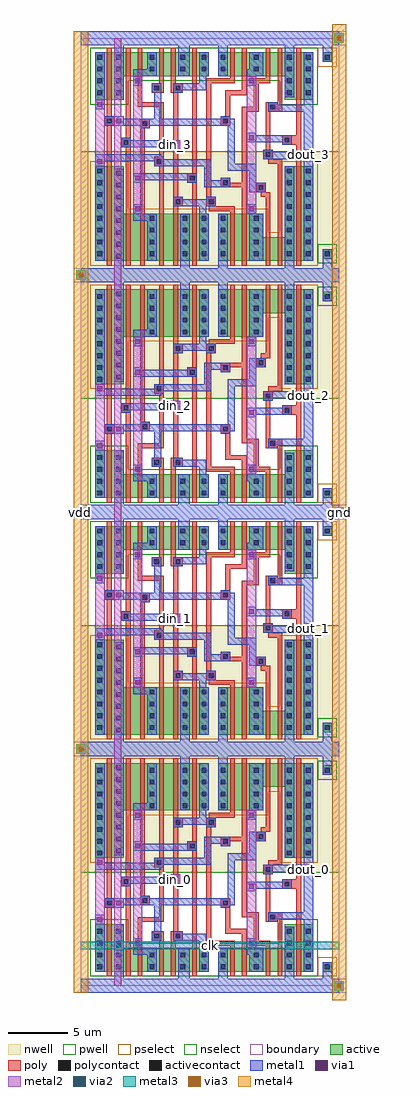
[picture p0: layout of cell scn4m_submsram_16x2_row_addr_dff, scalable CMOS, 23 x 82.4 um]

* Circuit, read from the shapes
.subckt scn4m_submsram_16x2_row_addr_dff clk din_0 din_1 din_2 din_3 dout_0 dout_1 dout_2 dout_3 gnd vdd
M1 gnd clk n1 gnd nfet w=4u l=0.4u
M2 gnd clk n2 gnd nfet w=4u l=0.4u
M3 gnd clk n3 gnd nfet w=4u l=0.4u
M4 gnd clk n4 gnd nfet w=4u l=0.4u
M5 n5 din_0 gnd gnd nfet w=2u l=0.4u
M6 n6 din_1 gnd gnd nfet w=2u l=0.4u
M7 n7 din_2 gnd gnd nfet w=2u l=0.4u
M8 n8 din_3 gnd gnd nfet w=2u l=0.4u
M9 n9 n1 n5 gnd nfet w=2u l=0.4u
M10 n10 n2 n6 gnd nfet w=2u l=0.4u
M11 n11 n3 n7 gnd nfet w=2u l=0.4u
M12 n12 n4 n8 gnd nfet w=2u l=0.4u
M13 n13 clk n9 gnd nfet w=2u l=0.4u
M14 n14 clk n10 gnd nfet w=2u l=0.4u
M15 n15 clk n11 gnd nfet w=2u l=0.4u
M16 n16 clk n12 gnd nfet w=2u l=0.4u
M17 gnd n17 n13 gnd nfet w=2u l=0.4u
M18 gnd n18 n14 gnd nfet w=2u l=0.4u
M19 gnd n19 n15 gnd nfet w=2u l=0.4u
M20 gnd n20 n16 gnd nfet w=2u l=0.4u
M21 n17 n9 gnd gnd nfet w=2u l=0.4u
M22 n18 n10 gnd gnd nfet w=2u l=0.4u
M23 n19 n11 gnd gnd nfet w=2u l=0.4u
M24 n20 n12 gnd gnd nfet w=2u l=0.4u
M25 n21 n17 gnd gnd nfet w=2u l=0.4u
M26 n22 n18 gnd gnd nfet w=2u l=0.4u
M27 n23 n19 gnd gnd nfet w=2u l=0.4u
M28 n24 n20 gnd gnd nfet w=2u l=0.4u
M29 n25 clk n21 gnd nfet w=2u l=0.4u
M30 n26 clk n22 gnd nfet w=2u l=0.4u
M31 n27 clk n23 gnd nfet w=2u l=0.4u
M32 n28 clk n24 gnd nfet w=2u l=0.4u
M33 n29 n1 n25 gnd nfet w=2u l=0.4u
M34 n30 n2 n26 gnd nfet w=2u l=0.4u
M35 n31 n3 n27 gnd nfet w=2u l=0.4u
M36 n32 n4 n28 gnd nfet w=2u l=0.4u
M37 gnd dout_0 n29 gnd nfet w=2u l=0.4u
M38 gnd dout_1 n30 gnd nfet w=2u l=0.4u
M39 gnd dout_2 n31 gnd nfet w=2u l=0.4u
M40 gnd dout_3 n32 gnd nfet w=2u l=0.4u
M41 dout_0 n25 gnd gnd nfet w=4u l=0.4u
M42 dout_1 n26 gnd gnd nfet w=4u l=0.4u
M43 dout_2 n27 gnd gnd nfet w=4u l=0.4u
M44 dout_3 n28 gnd gnd nfet w=4u l=0.4u
M45 vdd clk n1 vdd pfet w=8u l=0.4u
M46 vdd clk n2 vdd pfet w=8u l=0.4u
M47 vdd clk n3 vdd pfet w=8u l=0.4u
M48 vdd clk n4 vdd pfet w=8u l=0.4u
M49 n33 din_0 vdd vdd pfet w=4u l=0.4u
M50 n34 din_1 vdd vdd pfet w=4u l=0.4u
M51 n35 din_2 vdd vdd pfet w=4u l=0.4u
M52 n36 din_3 vdd vdd pfet w=4u l=0.4u
M53 n9 clk n33 vdd pfet w=4u l=0.4u
M54 n10 clk n34 vdd pfet w=4u l=0.4u
M55 n11 clk n35 vdd pfet w=4u l=0.4u
M56 n12 clk n36 vdd pfet w=4u l=0.4u
M57 n37 n1 n9 vdd pfet w=4u l=0.4u
M58 n38 n2 n10 vdd pfet w=4u l=0.4u
M59 n39 n3 n11 vdd pfet w=4u l=0.4u
M60 n40 n4 n12 vdd pfet w=4u l=0.4u
M61 vdd n17 n37 vdd pfet w=4u l=0.4u
M62 vdd n18 n38 vdd pfet w=4u l=0.4u
M63 vdd n19 n39 vdd pfet w=4u l=0.4u
M64 vdd n20 n40 vdd pfet w=4u l=0.4u
M65 n17 n9 vdd vdd pfet w=4u l=0.4u
M66 n18 n10 vdd vdd pfet w=4u l=0.4u
M67 n19 n11 vdd vdd pfet w=4u l=0.4u
M68 n20 n12 vdd vdd pfet w=4u l=0.4u
M69 n41 n17 vdd vdd pfet w=4u l=0.4u
M70 n42 n18 vdd vdd pfet w=4u l=0.4u
M71 n43 n19 vdd vdd pfet w=4u l=0.4u
M72 n44 n20 vdd vdd pfet w=4u l=0.4u
M73 n25 n1 n41 vdd pfet w=4u l=0.4u
M74 n26 n2 n42 vdd pfet w=4u l=0.4u
M75 n27 n3 n43 vdd pfet w=4u l=0.4u
M76 n28 n4 n44 vdd pfet w=4u l=0.4u
M77 n45 clk n25 vdd pfet w=2u l=0.4u
M78 n46 clk n26 vdd pfet w=2u l=0.4u
M79 n47 clk n27 vdd pfet w=2u l=0.4u
M80 n48 clk n28 vdd pfet w=2u l=0.4u
M81 vdd dout_0 n45 vdd pfet w=2u l=0.4u
M82 vdd dout_1 n46 vdd pfet w=2u l=0.4u
M83 vdd dout_2 n47 vdd pfet w=2u l=0.4u
M84 vdd dout_3 n48 vdd pfet w=2u l=0.4u
M85 dout_0 n25 vdd vdd pfet w=8u l=0.4u
M86 dout_1 n26 vdd vdd pfet w=8u l=0.4u
M87 dout_2 n27 vdd vdd pfet w=8u l=0.4u
M88 dout_3 n28 vdd vdd pfet w=8u l=0.4u
.ends

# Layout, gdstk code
import gdstk
lib = gdstk.Library(unit=1e-6, precision=1e-09)
def R(c, l, rs):  # rectangles x0, y0, x1, y1
    for r in rs: c.add(gdstk.rectangle(r[:2], r[2:], *l))
def A(c, l, x, y, w, h, nx, ny, dx, dy):  # array of equal rectangles
    R(c, l, [(x+i*dx, y+j*dy, x+i*dx+w, y+j*dy+h) for i in range(nx) for j in range(ny)])
via3 = (30, 0)
metal4 = (31, 0)
pwell = (41, 0)
nwell = (42, 0)
active = (43, 0)
pselect = (44, 0)
nselect = (45, 0)
poly = (46, 0)
polycontact = (47, 0)
activecontact = (48, 0)
metal1 = (49, 0)
via1 = (50, 0)
metal2 = (51, 0)
via2 = (61, 0)
metal3 = (62, 0)
boundary = (63, 0)

dff = lib.new_cell('dff')
R(dff, pwell, [(0,-0.6,21.8,9.6)])
R(dff, nwell, [(0,9.6,21.8,20.6)])
R(dff, active, [(1.2,1.2,10.8,3.2), (11.6,1.2,19.6,3.2), (20.4,1.2,21.2,2), (1.2,3.2,3.6,5.2), (17.2,3.2,19.6,5.2), (1.2,10.8,3.6,14.8), (17.2,10.8,19.6,16.8), (1.2,14.8,10.8,18.8), (11.6,14.8,15.4,16.8), (11.6,16.8,19.6,18.8), (20.4,17.8,21.2,18.6)])
R(dff, pselect, [(20,0.8,21.6,2.4), (0.8,10.4,4,14.4), (16.8,10.4,20,16.4), (0.8,14.4,15.8,16.4), (0.8,16.4,20,19.2)])
R(dff, nselect, [(0.8,0.8,20,3.6), (0.8,3.6,4,5.6), (16.8,3.6,20,5.6), (20,17.4,21.6,19)])
R(dff, poly, [(2.2,0.8,2.6,6.6), (3.8,0.8,4.2,8.4), (4.8,0.8,5.2,5.4), (6.6,0.8,7,3.8), (7.6,0.8,8,3.8), (9.4,0.8,9.8,11.4), (12.6,0.8,13,3.4), (13.6,0.8,14,4.4), (15.6,0.8,16,3.4), (16.6,0.8,17,5.4), (18.2,0.8,18.6,8.2), (10.6,3.4,13,3.8), (14.6,3.4,16,3.8), (6,3.8,7,4.6), (7.6,3.8,8.6,4.6), (10.6,3.8,11,13.4), (14.6,3.8,15,5.8), (12.2,4.4,14,4.8), (7.8,4.6,8.2,13.4), (12.2,4.8,12.6,6.6), (4.8,5.4,7,5.8), (15.6,5.4,17,6.2), (6.6,5.8,7,10), (13.6,5.8,15,6.2), (13.6,6.2,14,12.2), (15.6,6.2,16,9.4), (2,6.6,2.8,7.4), (11.8,6.6,12.6,7.4), (5,6.8,5.8,7.6), (2.2,7.4,2.6,19.2), (5,7.6,5.4,19.2), (17,8.2,18.6,9), (3.4,8.4,4.2,9.2), (18.2,9,18.6,19.2), (3.8,9.2,4.2,19.2), (15.4,9.4,16.2,10.2), (6.2,10,7,10.8), (15.8,10.2,17,10.6), (16.6,10.6,17,19.2), (6.6,10.8,7,19.2), (9,11.4,9.8,12.2), (11.8,11.8,12.6,12.2), (9.4,12.2,9.8,19.2), (11.8,12.2,14,12.6), (14.8,12.2,15.6,13), (13.6,12.6,14,19.2), (15.2,13,16,13.4), (7.8,13.4,8.6,14.2), (10.6,13.4,11.4,14.2), (15.6,13.4,16,19.2), (7.8,14.2,8.2,19.2), (10.8,14.2,13,14.6), (12.6,14.6,13,19.2)])
R(dff, polycontact, [(6.2,4,6.6,4.4), (8,4,8.4,4.4), (16,5.6,16.4,6), (2.2,6.8,2.6,7.2), (12,6.8,12.4,7.2), (5.2,7,5.6,7.4), (17.2,8.4,17.6,8.8), (3.6,8.6,4,9), (15.6,9.6,16,10), (6.4,10.2,6.8,10.6), (9.2,11.6,9.6,12), (12,12,12.4,12.4), (15,12.4,15.4,12.8), (8,13.6,8.4,14), (10.8,13.6,11.2,14)])
A(dff, activecontact, 1.4, 1.4, 0.4, 0.4, 1, 4, 0, 1)
A(dff, activecontact, 3, 1.4, 0.4, 0.4, 1, 4, 0, 1)
A(dff, activecontact, 11.8, 1.4, 0.4, 0.4, 3, 2, 2.8, 1)
A(dff, activecontact, 19, 1.4, 0.4, 0.4, 1, 4, 0, 1)
A(dff, activecontact, 1.4, 11, 0.4, 0.4, 1, 8, 0, 1)
A(dff, activecontact, 17.4, 11, 0.4, 0.4, 1, 7, 0, 1)
A(dff, activecontact, 19, 11, 0.4, 0.4, 1, 7, 0, 1)
A(dff, activecontact, 3, 11.2, 0.4, 0.4, 1, 8, 0, 1)
A(dff, activecontact, 5.8, 15, 0.4, 0.4, 1, 4, 0, 1)
A(dff, activecontact, 8.6, 15, 0.4, 0.4, 3, 4, 1.6, 1)
A(dff, activecontact, 14.6, 15, 0.4, 0.4, 1, 4, 0, 1)
A(dff, activecontact, 17.4, 18, 0.4, 0.4, 3, 1, 1.6, 0)
R(dff, activecontact, [(5.8,1.4,6.2,1.8), (8.4,1.4,8.8,1.8), (10.2,1.4,10.6,1.8), (20.6,1.4,21,1.8), (5.8,2.4,6.2,2.8), (8.4,2.4,8.8,2.8), (10.2,2.4,10.6,2.8), (17.4,3.4,17.8,3.8), (17.4,4.4,17.8,4.8)])
R(dff, metal1, [(0,-0.6,21.8,0.6), (0,-0.6,21.8,0.6), (2.8,0.6,3.6,5.2), (8.2,0.6,9.2,3.2), (11.6,0.6,12.4,3.2), (17.2,0.6,18,5), (20.4,0.6,21.2,2), (1.2,1.2,2,6), (5.6,1.2,6.4,2.6), (10,1.2,10.8,3.2), (14.2,1.2,15.4,2.6), (18.8,1.2,19.6,5.6), (4.4,2.6,6.4,3.2), (14,2.6,15.4,3.2), (4.4,3.2,5.2,4), (10,3.2,10.6,3.8), (14,3.2,14.8,4), (6,3.8,6.8,4.6), (7.8,3.8,10.6,4.4), (7.8,4.4,8.6,4.6), (6.2,4.6,6.8,6.8), (15.8,5.4,16.6,5.6), (15.8,5.6,19.6,6.2), (18.8,6.2,19.6,9.6), (2,6.6,3.6,6.8), (11.8,6.6,12.6,6.8), (2,6.8,13,7.4), (5,7.4,5.8,7.6), (12.4,7.4,13,10.6), (14,8,14.8,8.2), (14,8.2,17.8,8.8), (3.4,8.4,4.2,8.6), (3.4,8.6,8.4,9.2), (17,8.8,17.8,9), (7.6,9.2,8.4,9.4), (15.4,9.4,16.2,9.6), (15.4,9.6,19.6,10.2), (1.2,9.8,6.8,10), (1.2,10,7,10.2), (1.2,10.2,11,10.4), (18.8,10.2,19.6,18.8), (1.2,10.4,2,18.8), (6.2,10.4,11,10.8), (12.4,10.6,14.8,11.2), (10.4,10.8,11,12), (17.2,10.8,18,19.4), (2.8,11,3.6,19.4), (14.2,11.2,14.8,12.2), (4.4,11.4,9.8,12), (11.8,11.8,12.6,12), (4.4,12,5.2,12.2), (9,12,9.8,12.2), (10.4,12,12.6,12.6), (14.2,12.2,15.6,13), (7.8,13.4,8.6,13.6), (10.6,13.4,11.4,13.6), (7.8,13.6,11.4,14.2), (4.4,14,5.2,14.8), (14,14,14.8,14.8), (10,14.2,10.6,14.8), (4.4,14.8,6.4,15.4), (8.4,14.8,9.2,19.4), (10,14.8,10.8,18.8), (11.6,14.8,12.4,19.4), (14.2,14.8,15.4,18.8), (5.6,15.4,6.4,18.8), (20.4,17.8,21.2,19.4), (0,19.4,21.8,20.6), (0,19.4,21.8,20.6)])
R(dff, via1, [(4.6,3.4,5,3.8), (14.2,3.4,14.6,3.8), (1.4,5.4,1.8,5.8), (3,6.8,3.4,7.2), (14.2,8.2,14.6,8.6), (7.8,8.8,8.2,9.2), (19,9.6,19.4,10), (1.4,10.2,1.8,10.6), (4.6,11.6,5,12), (4.6,14.2,5,14.6), (14.2,14.2,14.6,14.6)])
R(dff, metal2, [(4.4,3.2,5.2,14.8), (14,3.2,14.8,14.8), (1.2,5.2,2,10.8), (2.8,6.6,3.6,7.4), (2.8,6.6,3.6,7.4), (7.6,8.6,8.4,9.4), (7.6,8.6,8.4,9.4), (18.8,9.4,19.6,10.2), (18.8,9.4,19.6,10.2)])
R(dff, boundary, [(0,0,21.8,20)])
dff.add(gdstk.Label('clk', (3,6.8), layer=51, texttype=0))
dff.add(gdstk.Label('D', (8,9), layer=51, texttype=0))
dff.add(gdstk.Label('Q', (19.2,9.8), layer=51, texttype=0))
dff.add(gdstk.Label('vdd', (6.4,19.6), layer=49, texttype=0))
dff.add(gdstk.Label('gnd', (8.8,0.2), layer=49, texttype=0))
dff.add(gdstk.Label('D', (8,9), layer=51, texttype=0))
dff.add(gdstk.Label('Q', (19.2,9.8), layer=51, texttype=0))
dff.add(gdstk.Label('clk', (3.2,7), layer=51, texttype=0))
dff.add(gdstk.Label('vdd', (10.9,20), layer=49, texttype=0))
dff.add(gdstk.Label('gnd', (10.9,0), layer=49, texttype=0))

scn4m_submsram_16x2_cont = lib.new_cell('scn4m_submsram_16x2_contact_18')
R(scn4m_submsram_16x2_cont, metal1, [(0,0,0.8,0.8)])
R(scn4m_submsram_16x2_cont, via1, [(0.2,0.2,0.6,0.6)])
R(scn4m_submsram_16x2_cont, metal2, [(0,0,0.8,0.8)])
R(scn4m_submsram_16x2_cont, boundary, [(0,0,0.8,0.8)])

c_scn4m_submsram_16x2_cont = lib.new_cell('scn4m_submsram_16x2_contact_19')
R(c_scn4m_submsram_16x2_cont, metal2, [(0,0,0.8,0.8)])
R(c_scn4m_submsram_16x2_cont, via2, [(0.2,0.2,0.6,0.6)])
R(c_scn4m_submsram_16x2_cont, metal3, [(0,0,0.8,0.8)])
R(c_scn4m_submsram_16x2_cont, boundary, [(0,0,0.8,0.8)])

c_scn4m_submsram_16x2_cont_ = lib.new_cell('scn4m_submsram_16x2_contact_22')
R(c_scn4m_submsram_16x2_cont_, via3, [(0.4,0.4,0.8,0.8)])
R(c_scn4m_submsram_16x2_cont_, metal4, [(0,0,1.2,1.2)])
R(c_scn4m_submsram_16x2_cont_, metal3, [(0.2,0.2,1,1)])
R(c_scn4m_submsram_16x2_cont_, boundary, [(0,0,1.2,1.2)])

scn4m_submsram_16x2_row_ = lib.new_cell('scn4m_submsram_16x2_row_addr_dff')
R(scn4m_submsram_16x2_row_, metal4, [(21.2,-1.2,22.4,81.2), (-0.6,-0.6,0.6,80.6)])
R(scn4m_submsram_16x2_row_, metal2, [(2.8,0,3.4,80), (7.6,8.6,8.4,9.4), (18.8,9.4,19.6,10.2), (18.8,29.8,19.6,30.6), (7.6,30.6,8.4,31.4), (7.6,48.6,8.4,49.4), (18.8,49.4,19.6,50.2), (18.8,69.8,19.6,70.6), (7.6,70.6,8.4,71.4)])
R(scn4m_submsram_16x2_row_, metal3, [(0,3.1,21.8,3.7)])
R(scn4m_submsram_16x2_row_, boundary, [(0,0,21.8,80)])
scn4m_submsram_16x2_row_.add(gdstk.Reference(dff, (0,0)))
scn4m_submsram_16x2_row_.add(gdstk.Reference(dff, (0,40), x_reflection=True))
scn4m_submsram_16x2_row_.add(gdstk.Reference(dff, (0,40)))
scn4m_submsram_16x2_row_.add(gdstk.Reference(dff, (0,80), x_reflection=True))
scn4m_submsram_16x2_row_.add(gdstk.Reference(scn4m_submsram_16x2_cont, (-0.4,19.6)))
scn4m_submsram_16x2_row_.add(gdstk.Reference(c_scn4m_submsram_16x2_cont, (-0.4,19.6)))
scn4m_submsram_16x2_row_.add(gdstk.Reference(c_scn4m_submsram_16x2_cont_, (-0.6,19.4)))
scn4m_submsram_16x2_row_.add(gdstk.Reference(scn4m_submsram_16x2_cont, (-0.4,19.6)))
scn4m_submsram_16x2_row_.add(gdstk.Reference(c_scn4m_submsram_16x2_cont, (-0.4,19.6)))
scn4m_submsram_16x2_row_.add(gdstk.Reference(c_scn4m_submsram_16x2_cont_, (-0.6,19.4)))
scn4m_submsram_16x2_row_.add(gdstk.Reference(scn4m_submsram_16x2_cont, (-0.4,59.6)))
scn4m_submsram_16x2_row_.add(gdstk.Reference(c_scn4m_submsram_16x2_cont, (-0.4,59.6)))
scn4m_submsram_16x2_row_.add(gdstk.Reference(c_scn4m_submsram_16x2_cont_, (-0.6,59.4)))
scn4m_submsram_16x2_row_.add(gdstk.Reference(scn4m_submsram_16x2_cont, (-0.4,59.6)))
scn4m_submsram_16x2_row_.add(gdstk.Reference(c_scn4m_submsram_16x2_cont, (-0.4,59.6)))
scn4m_submsram_16x2_row_.add(gdstk.Reference(c_scn4m_submsram_16x2_cont_, (-0.6,59.4)))
scn4m_submsram_16x2_row_.add(gdstk.Reference(scn4m_submsram_16x2_cont, (21.4,-0.4)))
scn4m_submsram_16x2_row_.add(gdstk.Reference(c_scn4m_submsram_16x2_cont, (21.4,-0.4)))
scn4m_submsram_16x2_row_.add(gdstk.Reference(c_scn4m_submsram_16x2_cont_, (21.2,-0.6)))
scn4m_submsram_16x2_row_.add(gdstk.Reference(scn4m_submsram_16x2_cont, (21.4,39.6)))
scn4m_submsram_16x2_row_.add(gdstk.Reference(c_scn4m_submsram_16x2_cont, (21.4,39.6)))
scn4m_submsram_16x2_row_.add(gdstk.Reference(c_scn4m_submsram_16x2_cont_, (21.2,39.4)))
scn4m_submsram_16x2_row_.add(gdstk.Reference(scn4m_submsram_16x2_cont, (21.4,39.6)))
scn4m_submsram_16x2_row_.add(gdstk.Reference(c_scn4m_submsram_16x2_cont, (21.4,39.6)))
scn4m_submsram_16x2_row_.add(gdstk.Reference(c_scn4m_submsram_16x2_cont_, (21.2,39.4)))
scn4m_submsram_16x2_row_.add(gdstk.Reference(scn4m_submsram_16x2_cont, (21.4,79.6)))
scn4m_submsram_16x2_row_.add(gdstk.Reference(c_scn4m_submsram_16x2_cont, (21.4,79.6)))
scn4m_submsram_16x2_row_.add(gdstk.Reference(c_scn4m_submsram_16x2_cont_, (21.2,79.4)))
scn4m_submsram_16x2_row_.add(gdstk.Reference(c_scn4m_submsram_16x2_cont, (2.8,3)))
scn4m_submsram_16x2_row_.add(gdstk.Label('vdd', (0,40), layer=31, texttype=0))
scn4m_submsram_16x2_row_.add(gdstk.Label('gnd', (21.8,40), layer=31, texttype=0))
scn4m_submsram_16x2_row_.add(gdstk.Label('din_0', (8,9), layer=51, texttype=0))
scn4m_submsram_16x2_row_.add(gdstk.Label('dout_0', (19.2,9.8), layer=51, texttype=0))
scn4m_submsram_16x2_row_.add(gdstk.Label('din_1', (8,31), layer=51, texttype=0))
scn4m_submsram_16x2_row_.add(gdstk.Label('dout_1', (19.2,30.2), layer=51, texttype=0))
scn4m_submsram_16x2_row_.add(gdstk.Label('din_2', (8,49), layer=51, texttype=0))
scn4m_submsram_16x2_row_.add(gdstk.Label('dout_2', (19.2,49.8), layer=51, texttype=0))
scn4m_submsram_16x2_row_.add(gdstk.Label('din_3', (8,71), layer=51, texttype=0))
scn4m_submsram_16x2_row_.add(gdstk.Label('dout_3', (19.2,70.2), layer=51, texttype=0))
scn4m_submsram_16x2_row_.add(gdstk.Label('clk', (10.9,3.4), layer=62, texttype=0))

lib.write_gds('scn4m_submsram_16x2_row_addr_dff.gds')
